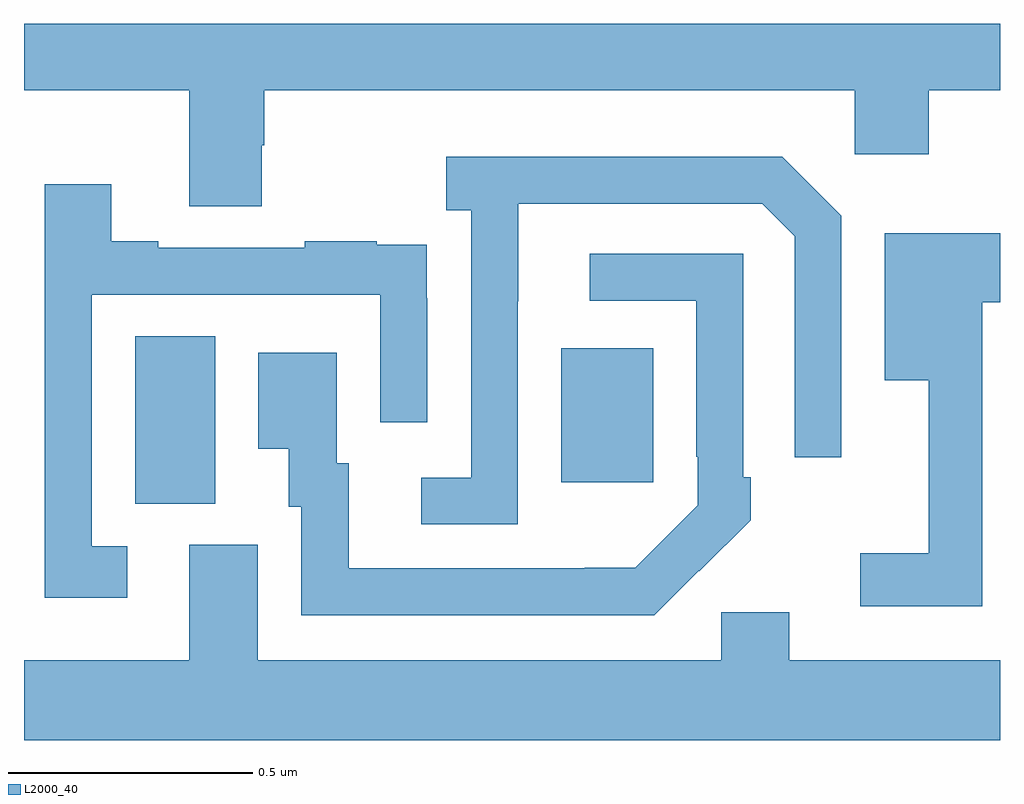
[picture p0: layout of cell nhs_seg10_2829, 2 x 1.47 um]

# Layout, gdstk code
import gdstk
lib = gdstk.Library(unit=1e-6, precision=1e-09)
def R(c, l, rs):  # rectangles x0, y0, x1, y1
    for r in rs: c.add(gdstk.rectangle(r[:2], r[2:], *l))
def P(c, l, *ps):  # polygons
    for p in ps: c.add(gdstk.Polygon(p, *l))
L2000_40 = (2000, 40)

nhs_seg10_2829 = lib.new_cell('nhs_seg10_2829')
R(nhs_seg10_2829, L2000_40, [(146.228,1251.517,146.392,1251.86), (147.101,1251.561,147.289,1251.835)])
P(nhs_seg10_2829, L2000_40, [(146.487,1252.251),(146.492,1252.251),(146.492,1252.364),(147.702,1252.364),(147.702,1252.233),(147.854,1252.233),(147.854,1252.364),(148,1252.364),(148,1252.5),(146,1252.5),(146,1252.364),(146.339,1252.364),(146.339,1252.126),(146.487,1252.126)],
  [(147.012,1251.931),(147.013,1251.931),(147.013,1252.131),(147.513,1252.131),(147.579,1252.065),(147.579,1251.612),(147.675,1251.612),(147.675,1252.107),(147.554,1252.228),(146.865,1252.228),(146.865,1252.118),(146.916,1252.118),(146.916,1251.57),(146.814,1251.57),(146.814,1251.474),(147.012,1251.474)],
  [(146.212,1251.429),(146.139,1251.429),(146.139,1251.945),(146.73,1251.945),(146.73,1251.684),(146.826,1251.684),(146.826,1251.938),(146.825,1251.938),(146.825,1252.047),(146.723,1252.047),(146.723,1252.054),(146.575,1252.054),(146.575,1252.041),(146.275,1252.041),(146.275,1252.054),(146.179,1252.054),(146.179,1252.171),(146.043,1252.171),(146.043,1251.324),(146.212,1251.324)],
  [(147.964,1251.929),(148,1251.929),(148,1252.071),(147.764,1252.071),(147.764,1251.77),(147.854,1251.77),(147.854,1251.415),(147.714,1251.415),(147.714,1251.306),(147.964,1251.306)],
  [(147.383,1251.379),(147.384,1251.378),(147.489,1251.483),(147.489,1251.571),(147.474,1251.571),(147.474,1252.029),(147.159,1252.029),(147.159,1251.933),(147.378,1251.933),(147.378,1251.613),(147.381,1251.613),(147.381,1251.513),(147.253,1251.385),(147.149,1251.385),(147.149,1251.384),(146.665,1251.384),(146.665,1251.6),(146.641,1251.6),(146.641,1251.826),(146.48,1251.826),(146.48,1251.629),(146.543,1251.629),(146.543,1251.51),(146.568,1251.51),(146.568,1251.288),(147.292,1251.288)],
  [(148,1251.196),(147.568,1251.196),(147.568,1251.294),(147.429,1251.294),(147.429,1251.196),(146.479,1251.196),(146.479,1251.432),(146.339,1251.432),(146.339,1251.196),(146,1251.196),(146,1251.032),(148,1251.032)])

lib.write_gds('nhs_seg10_2829.gds')
